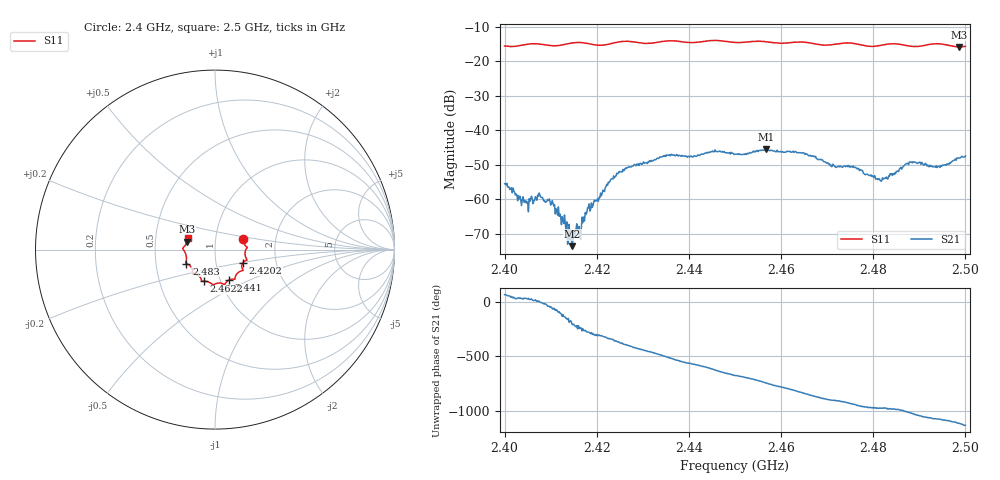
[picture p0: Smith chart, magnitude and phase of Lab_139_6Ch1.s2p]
# Hz S RI R 50
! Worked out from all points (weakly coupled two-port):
!   601 points, 2.4 GHz to 2.5 GHz, reference 50 ohm
!   highest |S21| = -45.50 dB at 2.4568 GHz (marker M1); lowest = -73.5 dB at 2.4147 GHz (marker M2)
!   lowest |S11| = -15.8 dB at 2.4987 GHz (marker M3), VSWR 1.39, Z = 36.4 + j3.33 ohm
!   |S11| at or under -10 dB: start of sweep to end of sweep
!   S12 and S22 are empty: the file has one direction only
!   S11 on the Smith chart (normalised r, x): 2.4 GHz: 1.36, +0.17; 2.4202 GHz: 1.35, -0.20; 2.441 GHz: 1.09, -0.39; 2.4622 GHz: 0.83, -0.30; 2.483 GHz: 0.72, -0.12; 2.5 GHz: 0.73, +0.09
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2.4e9  0.1561 0.0598  0.000718 0.00153  0 0  0 0
2.404667e9  0.175 0.0165  0.000814 0.000498  0 0  0 0
2.407667e9  0.178 0.00987  0.00114 -0.000102  0 0  0 0
2.41e9  0.1693 -0.00762  0.000581 -0.000595  0 0  0 0
2.414667e9  0.1771 -0.0534  -0.000183 0.000104  0 0  0 0
2.416667e9  0.1777 -0.0583  -0.000187 0.000357  0 0  0 0
2.418e9  0.1711 -0.0606  9.12e-05 0.000748  0 0  0 0
2.420167e9  0.1557 -0.072  0.000676 0.000767  0 0  0 0
2.424833e9  0.1555 -0.1122  0.0025 -0.000457  0 0  0 0
2.433333e9  0.113 -0.1525  -0.00197 -0.0034  0 0  0 0
2.441e9  0.0766 -0.1706  -0.00353 0.00233  0 0  0 0
2.45e9  0.0262 -0.186  0.00321 0.00316  0 0  0 0
2.456833e9  -0.0174 -0.1913  0.00482 -0.00222  0 0  0 0
2.462167e9  -0.0635 -0.1762  0.000448 -0.00481  0 0  0 0
2.466667e9  -0.0761 -0.1667  -0.00329 -0.00267  0 0  0 0
2.481333e9  -0.1473 -0.0835  -0.000514 0.00192  0 0  0 0
2.483e9  -0.1592 -0.0779  -0.00046 0.00195  0 0  0 0
2.483333e9  -0.1608 -0.0773  -0.000262 0.00217  0 0  0 0
2.488333e9  -0.1593 -0.0438  0.00178 0.00301  0 0  0 0
2.494e9  -0.1801 0.00697  0.00298 0.000226  0 0  0 0
2.498667e9  -0.1558 0.0445  0.00327 -0.00226  0 0  0 0
2.5e9  -0.153 0.0632  0.00257 -0.00342  0 0  0 0
